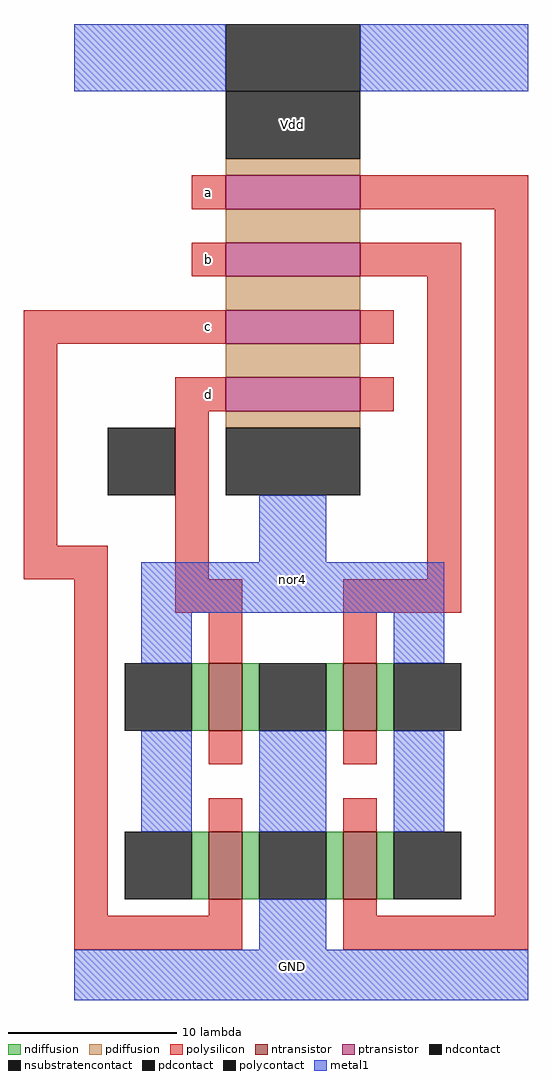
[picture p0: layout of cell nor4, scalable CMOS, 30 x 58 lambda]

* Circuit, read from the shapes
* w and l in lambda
.subckt nor4 GND Vdd a b c d
M1 GND c n1 VSUBS nfet w=4 l=2
M2 GND d n1 VSUBS nfet w=4 l=2
M3 n1 a GND VSUBS nfet w=4 l=2
M4 n1 b GND VSUBS nfet w=4 l=2
M5 n2 d n1 Vdd pfet w=8 l=2
M6 n3 c n2 Vdd pfet w=8 l=2
M7 n4 b n3 Vdd pfet w=8 l=2
M8 Vdd a n4 Vdd pfet w=8 l=2
.ends

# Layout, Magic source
magic
tech scmos
<< polysilicon >>
rect 7 43 9 45
rect 17 43 27 45
rect 7 39 9 41
rect 17 39 23 41
rect -3 35 9 37
rect 17 35 19 37
rect -3 23 -1 35
rect 6 31 9 33
rect 17 31 19 33
rect -3 21 2 23
rect 0 1 2 21
rect 6 21 8 31
rect 21 21 23 39
rect 6 19 10 21
rect 8 16 10 19
rect 16 19 23 21
rect 16 16 18 19
rect 8 10 10 12
rect 16 10 18 12
rect 8 6 10 8
rect 16 6 18 8
rect 8 1 10 2
rect 0 -1 10 1
rect 16 1 18 2
rect 25 1 27 43
rect 16 -1 27 1
<< ndiffusion >>
rect 7 12 8 16
rect 10 12 11 16
rect 15 12 16 16
rect 18 12 19 16
rect 7 2 8 6
rect 10 2 11 6
rect 15 2 16 6
rect 18 2 19 6
<< pdiffusion >>
rect 9 45 17 46
rect 9 41 17 43
rect 9 37 17 39
rect 9 33 17 35
rect 9 30 17 31
<< metal1 >>
rect 0 50 9 54
rect 17 50 27 54
rect 11 22 15 26
rect 4 19 22 22
rect 4 16 7 19
rect 19 16 22 19
rect 4 6 7 12
rect 11 6 15 12
rect 19 6 22 12
rect 11 -1 15 2
rect 0 -4 27 -1
<< ntransistor >>
rect 8 12 10 16
rect 16 12 18 16
rect 8 2 10 6
rect 16 2 18 6
<< ptransistor >>
rect 9 43 17 45
rect 9 39 17 41
rect 9 35 17 37
rect 9 31 17 33
<< polycontact >>
rect 2 26 6 30
<< ndcontact >>
rect 3 12 7 16
rect 11 12 15 16
rect 19 12 23 16
rect 3 2 7 6
rect 11 2 15 6
rect 19 2 23 6
<< pdcontact >>
rect 9 46 17 50
rect 9 26 17 30
<< nsubstratencontact >>
rect 9 50 17 54
<< labels >>
rlabel pdcontact 13 48 13 48 5 Vdd
rlabel metal1 13 -2 13 -2 1 GND
rlabel polysilicon 8 44 8 44 1 a
rlabel polysilicon 8 40 8 40 1 b
rlabel polysilicon 8 36 8 36 1 c
rlabel polysilicon 8 32 8 32 1 d
rlabel metal1 13 21 13 21 1 nor4
<< end >>
